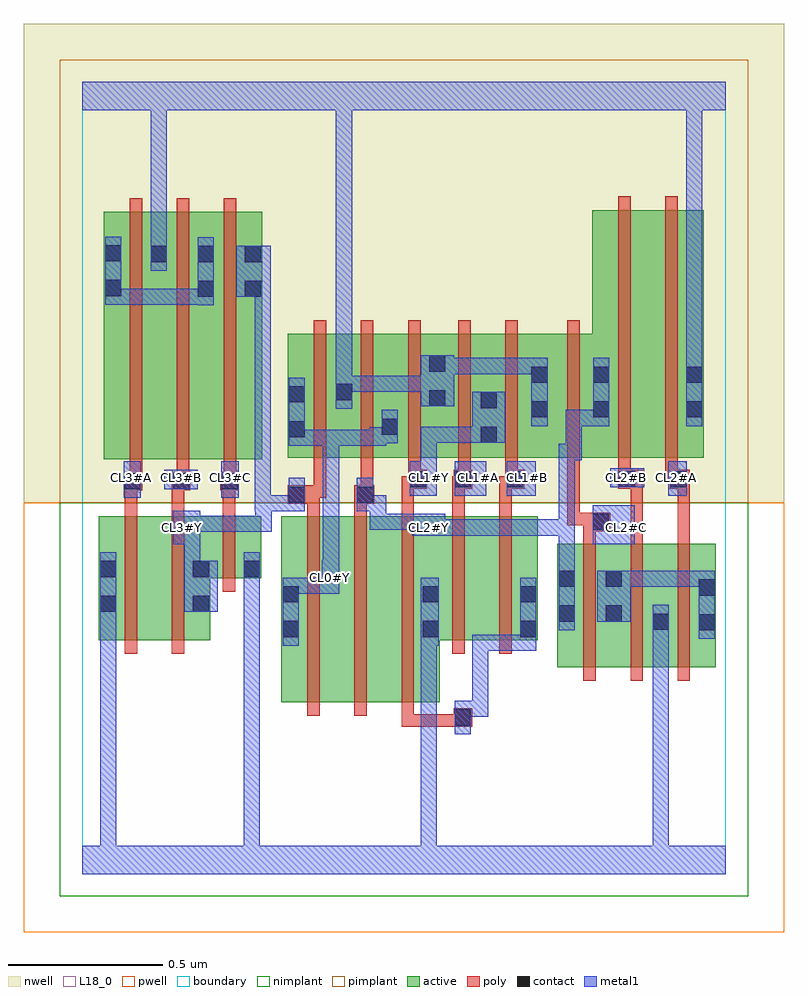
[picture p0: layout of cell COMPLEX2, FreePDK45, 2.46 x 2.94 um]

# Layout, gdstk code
import gdstk
lib = gdstk.Library(unit=1e-6, precision=1e-09)
def R(c, l, rs):  # rectangles x0, y0, x1, y1
    for r in rs: c.add(gdstk.rectangle(r[:2], r[2:], *l))
def A(c, l, x, y, w, h, nx, ny, dx, dy):  # array of equal rectangles
    R(c, l, [(x+i*dx, y+j*dy, x+i*dx+w, y+j*dy+h) for i in range(nx) for j in range(ny)])
active = (1, 0)
pwell = (2, 0)
nwell = (3, 0)
nimplant = (4, 0)
pimplant = (5, 0)
poly = (9, 0)
contact = (10, 0)
metal1 = (11, 0)
L18_0 = (18, 0)
boundary = (235, 0)

complex2 = lib.new_cell('COMPLEX2')
R(complex2, active, [(0.644,0.556,0.824,1.156), (0.644,0.556,0.704,1.156), (0.824,0.556,0.976,1.156), (0.976,0.556,1.156,1.156), (1.096,0.556,1.156,0.934), (1.536,0.668,1.596,1.068), (1.536,0.668,1.748,1.068), (1.688,0.668,1.748,1.068), (1.688,0.668,1.9,1.068), (1.84,0.668,2.048,1.068), (1.84,0.668,1.9,0.874), (1.988,0.668,2.048,1.068), (0.054,0.756,0.114,1.156), (0.054,0.756,0.234,1.156), (0.234,0.756,0.414,1.156), (0.354,0.756,0.414,1.016), (1.096,0.756,1.292,1.156), (1.292,0.756,1.472,1.156), (1.412,0.756,1.472,1.156), (0.354,0.956,0.578,1.156), (0.518,0.956,0.578,1.156), (0.07,1.34,0.13,2.14), (0.07,1.34,0.278,2.14), (0.218,1.34,0.43,2.14), (0.37,1.34,0.582,2.14), (0.37,1.34,0.43,2.044), (0.522,1.34,0.582,2.14), (0.664,1.346,0.876,1.746), (0.664,1.346,0.724,1.644), (0.816,1.346,1.024,1.746), (0.816,1.346,0.876,1.644), (0.964,1.346,1.178,1.746), (1.118,1.346,1.344,1.746), (1.284,1.346,1.508,1.746), (1.448,1.346,1.708,1.746), (1.648,1.346,1.828,2.146), (1.828,1.346,2.008,2.146), (1.948,1.346,2.008,2.044), (1.118,1.39,1.178,1.746), (1.284,1.39,1.344,1.746), (0.964,1.416,1.024,1.644), (1.448,1.472,1.508,1.65), (1.648,1.472,1.708,1.644), (0.218,1.686,0.278,2.14)])
R(complex2, pwell, [(-0.188,-0.188,2.268,1.2)])
R(complex2, nwell, [(-0.188,1.2,2.268,2.748)])
R(complex2, nimplant, [(-0.072,-0.072,2.152,1.2)])
R(complex2, pimplant, [(-0.072,1.2,2.152,2.632)])
A(complex2, poly, 0.728, 0.512, 0.04, 0.688, 3, 1, 0.152, 0)
A(complex2, poly, 1.62, 0.624, 0.04, 0.488, 3, 1, 0.152, 0)
A(complex2, poly, 0.134, 1.24, 0.06, 0.06, 3, 1, 0.156, 0)
A(complex2, poly, 0.154, 1.26, 0.04, 0.076, 3, 1, 0.152, 0)
A(complex2, poly, 0.154, 1.296, 0.04, 0.888, 3, 1, 0.152, 0)
R(complex2, poly, [(1.032,0.476,1.072,0.552), (1.032,0.476,1.072,0.516), (1.032,0.476,1.072,0.516), (1.032,0.476,1.072,0.516), (1.032,0.476,1.24,0.516), (1.2,0.476,1.26,0.536), (0.138,0.712,0.178,1.2), (0.29,0.712,0.33,1.2), (1.196,0.712,1.236,1.2), (1.348,0.712,1.388,1.2), (0.454,0.912,0.494,1.2), (1.62,1.072,1.66,1.148), (1.772,1.072,1.812,1.286), (1.924,1.072,1.964,1.286), (1.62,1.108,1.706,1.168), (1.568,1.128,1.608,1.342), (1.568,1.128,1.66,1.168), (1.62,1.128,1.66,1.168), (0.138,1.16,0.178,1.28), (0.29,1.16,0.33,1.28), (0.454,1.16,0.494,1.28), (0.728,1.16,0.768,1.236), (0.88,1.16,0.92,1.236), (1.032,1.16,1.072,1.286), (1.196,1.16,1.236,1.286), (1.348,1.16,1.388,1.286), (0.664,1.196,0.768,1.256), (0.88,1.196,0.944,1.256), (0.728,1.216,0.768,1.256), (0.728,1.216,0.788,1.256), (0.748,1.216,0.788,1.342), (0.9,1.216,0.94,1.256), (0.9,1.216,0.94,1.256), (0.9,1.216,0.94,1.342), (0.138,1.24,0.178,1.28), (0.138,1.24,0.178,1.28), (0.29,1.24,0.33,1.28), (0.29,1.24,0.33,1.28), (0.454,1.24,0.494,1.28), (0.454,1.24,0.494,1.28), (1.032,1.246,1.094,1.286), (1.054,1.246,1.094,1.286), (1.054,1.246,1.114,1.306), (1.196,1.246,1.24,1.286), (1.2,1.246,1.24,1.286), (1.2,1.246,1.26,1.306), (1.348,1.246,1.408,1.286), (1.368,1.246,1.408,1.286), (1.368,1.246,1.428,1.306), (1.732,1.246,1.812,1.306), (1.772,1.246,1.812,1.286), (1.772,1.246,1.812,1.286), (1.898,1.246,1.964,1.306), (1.054,1.266,1.094,1.342), (1.216,1.266,1.256,1.342), (1.368,1.266,1.408,1.342), (1.732,1.266,1.772,1.342), (1.884,1.266,1.924,1.342), (1.884,1.266,1.938,1.306), (1.898,1.266,1.938,1.306), (0.748,1.302,0.788,1.79), (0.9,1.302,0.94,1.79), (1.054,1.302,1.094,1.79), (1.216,1.302,1.256,1.79), (1.368,1.302,1.408,1.79), (1.568,1.302,1.608,1.79), (1.732,1.302,1.772,2.19), (1.884,1.302,1.924,2.19)])
A(complex2, contact, 0.138, 1.244, 0.052, 0.052, 3, 1, 0.156, 0)
A(complex2, contact, 0.222, 1.978, 0.052, 0.052, 3, 1, 0.152, 0)
R(complex2, contact, [(1.204,0.48,1.256,0.532), (0.648,0.766,0.7,0.818), (1.1,0.766,1.152,0.818), (1.416,0.766,1.468,0.818), (1.992,0.788,2.044,0.84), (1.844,0.79,1.896,0.842), (1.54,0.816,1.592,0.868), (1.692,0.816,1.744,0.868), (0.058,0.848,0.11,0.9), (0.358,0.848,0.41,0.9), (0.648,0.878,0.7,0.93), (1.1,0.878,1.152,0.93), (1.416,0.878,1.468,0.93), (1.992,0.9,2.044,0.952), (1.54,0.928,1.592,0.98), (1.692,0.928,1.744,0.98), (0.058,0.96,0.11,1.012), (0.358,0.96,0.41,1.012), (0.522,0.96,0.574,1.012), (1.65,1.112,1.702,1.164), (0.668,1.2,0.72,1.252), (0.888,1.2,0.94,1.252), (1.058,1.25,1.11,1.302), (1.204,1.25,1.256,1.302), (1.372,1.25,1.424,1.302), (1.736,1.25,1.788,1.302), (1.902,1.25,1.954,1.302), (1.288,1.394,1.34,1.446), (0.668,1.412,0.72,1.464), (0.968,1.42,1.02,1.472), (1.452,1.476,1.504,1.528), (1.652,1.476,1.704,1.528), (1.952,1.476,2.004,1.528), (1.288,1.506,1.34,1.558), (1.122,1.512,1.174,1.564), (0.668,1.524,0.72,1.576), (0.82,1.532,0.872,1.584), (1.452,1.588,1.504,1.64), (1.652,1.588,1.704,1.64), (1.952,1.588,2.004,1.64), (1.122,1.624,1.174,1.676), (0.374,1.866,0.426,1.918), (0.526,1.866,0.578,1.918), (0.074,1.868,0.126,1.92), (0.074,1.98,0.126,2.032)])
R(complex2, metal1, [(0,0,2.08,0.092), (0.058,0.04,0.11,0.092), (0.058,0.04,0.11,0.092), (0.058,0.04,0.11,0.092), (0.058,0.04,0.11,0.092), (0.058,0.04,0.11,0.092), (0.058,0.04,0.11,0.092), (0.058,0.04,0.11,0.092), (0.058,0.04,0.11,0.092), (0.058,0.04,0.11,0.092), (0.058,0.04,0.11,0.092), (0.058,0.04,0.11,0.092), (0.058,0.04,0.11,0.092), (0.058,0.04,0.11,0.872), (0.522,0.04,0.574,0.092), (0.522,0.04,0.574,0.092), (0.522,0.04,0.574,0.092), (0.522,0.04,0.574,0.092), (0.522,0.04,0.574,0.092), (0.522,0.04,0.574,0.092), (0.522,0.04,0.574,0.092), (0.522,0.04,0.574,0.092), (0.522,0.04,0.574,0.092), (0.522,0.04,0.574,0.092), (0.522,0.04,0.574,0.092), (0.522,0.04,0.574,0.092), (0.522,0.04,0.574,0.092), (0.522,0.04,0.574,0.092), (0.522,0.04,0.574,0.984), (1.094,0.04,1.146,0.092), (1.094,0.04,1.146,0.092), (1.094,0.04,1.146,0.092), (1.094,0.04,1.146,0.092), (1.094,0.04,1.146,0.092), (1.094,0.04,1.146,0.092), (1.094,0.04,1.146,0.092), (1.094,0.04,1.146,0.092), (1.094,0.04,1.146,0.79), (1.844,0.04,1.896,0.092), (1.844,0.04,1.896,0.092), (1.844,0.04,1.896,0.092), (1.844,0.04,1.896,0.092), (1.844,0.04,1.896,0.092), (1.844,0.04,1.896,0.092), (1.844,0.04,1.896,0.092), (1.844,0.04,1.896,0.092), (1.844,0.04,1.896,0.092), (1.844,0.04,1.896,0.092), (1.844,0.04,1.896,0.814), (1.204,0.452,1.256,0.56), (1.204,0.508,1.312,0.56), (1.26,0.508,1.312,0.56), (1.26,0.508,1.312,0.56), (1.26,0.508,1.312,0.56), (1.26,0.508,1.312,0.774), (1.26,0.722,1.312,0.774), (1.26,0.722,1.468,0.774), (1.416,0.722,1.468,0.774), (1.416,0.722,1.468,0.774), (1.416,0.722,1.468,0.774), (1.416,0.722,1.468,0.79), (0.648,0.738,0.7,0.958), (1.094,0.738,1.152,0.958), (1.416,0.738,1.468,0.958), (1.992,0.76,2.044,0.98), (1.844,0.762,1.896,0.814), (1.844,0.762,1.896,0.814), (1.844,0.762,1.896,0.87), (1.54,0.788,1.592,1.008), (1.664,0.816,1.772,0.98), (0.058,0.82,0.11,1.04), (0.33,0.848,0.438,1.012), (0.648,0.906,0.83,0.958), (0.774,0.906,0.83,1.014), (0.778,0.906,0.83,0.958), (0.778,0.906,0.83,0.958), (0.778,0.906,0.83,0.958), (0.778,0.906,0.83,0.958), (1.72,0.928,1.772,0.98), (1.72,0.928,1.772,0.98), (1.72,0.928,1.894,0.98), (1.842,0.928,1.894,0.98), (1.842,0.928,1.894,0.98), (1.842,0.928,1.894,0.98), (1.842,0.928,2.044,0.98), (0.522,0.932,0.574,0.984), (0.522,0.932,0.574,0.984), (0.522,0.932,0.574,1.04), (1.54,0.956,1.592,1.146), (0.33,0.96,0.382,1.118), (0.778,0.962,0.83,1.436), (0.294,1.066,0.382,1.174), (1.65,1.066,1.786,1.192), (1.066,1.094,1.174,1.164), (1.122,1.094,1.314,1.146), (1.262,1.094,1.314,1.146), (1.262,1.094,1.314,1.146), (1.262,1.094,1.314,1.146), (1.262,1.094,1.482,1.146), (1.43,1.094,1.482,1.146), (1.43,1.094,1.482,1.146), (1.43,1.094,1.482,1.146), (1.43,1.094,1.592,1.146), (1.54,1.094,1.592,1.146), (1.54,1.094,1.592,1.146), (1.54,1.094,1.592,1.146), (1.54,1.094,1.592,1.39), (0.33,1.106,0.418,1.158), (0.366,1.106,0.418,1.158), (0.366,1.106,0.612,1.158), (0.56,1.106,0.612,1.224), (0.93,1.112,1.118,1.164), (0.93,1.112,0.982,1.224), (1.066,1.112,1.118,1.164), (1.066,1.112,1.118,1.164), (0.558,1.172,0.61,1.918), (0.558,1.172,0.612,1.224), (0.56,1.172,0.612,1.224), (0.56,1.172,0.716,1.224), (0.664,1.172,0.716,1.224), (0.664,1.172,0.72,1.224), (0.668,1.172,0.72,1.28), (0.888,1.172,0.94,1.28), (0.888,1.172,0.982,1.224), (0.134,1.216,0.19,1.334), (0.45,1.216,0.506,1.334), (1.058,1.222,1.146,1.334), (1.204,1.222,1.306,1.334), (1.372,1.222,1.466,1.334), (1.894,1.222,1.954,1.334), (0.266,1.244,0.374,1.306), (1.706,1.25,1.816,1.312), (1.094,1.282,1.146,1.334), (1.094,1.282,1.146,1.334), (1.094,1.282,1.146,1.446), (1.54,1.338,1.592,1.39), (1.54,1.338,1.614,1.39), (1.562,1.338,1.614,1.5), (0.668,1.384,0.72,1.604), (0.668,1.384,0.83,1.436), (0.778,1.384,0.83,1.436), (0.778,1.384,0.83,1.436), (0.778,1.384,0.83,1.436), (0.778,1.384,0.83,1.436), (0.778,1.384,0.83,1.436), (0.778,1.384,0.982,1.436), (0.93,1.384,0.982,1.444), (0.93,1.392,1.02,1.444), (0.968,1.392,1.02,1.5), (1.094,1.394,1.146,1.446), (1.094,1.394,1.312,1.446), (1.26,1.394,1.312,1.446), (1.26,1.394,1.312,1.446), (1.26,1.394,1.368,1.558), (1.452,1.448,1.504,1.668), (1.562,1.448,1.704,1.5), (1.652,1.448,1.704,1.668), (1.952,1.448,2.004,1.668), (0.82,1.504,0.872,1.612), (1.094,1.512,1.202,1.676), (0.82,1.558,0.982,1.61), (0.93,1.558,0.982,1.61), (0.93,1.558,0.982,1.61), (0.93,1.558,0.982,1.61), (0.93,1.558,1.146,1.61), (1.094,1.558,1.146,1.61), (1.094,1.558,1.146,1.61), (0.82,1.56,0.872,2.41), (1.15,1.616,1.312,1.668), (1.26,1.616,1.312,1.668), (1.26,1.616,1.312,1.668), (1.26,1.616,1.312,1.668), (1.26,1.616,1.482,1.668), (1.43,1.616,1.482,1.668), (1.43,1.616,1.504,1.668), (1.952,1.616,2.004,2.52), (0.374,1.838,0.426,2.058), (0.074,1.84,0.126,1.892), (0.074,1.84,0.126,1.892), (0.074,1.84,0.126,2.06), (0.074,1.84,0.236,1.892), (0.184,1.84,0.236,1.892), (0.184,1.84,0.236,1.892), (0.184,1.84,0.236,1.892), (0.184,1.84,0.426,1.892), (0.498,1.866,0.61,2.03), (0.222,1.95,0.274,2.058), (0.222,2.006,0.274,2.52), (0.82,2.358,0.872,2.41), (0.82,2.358,0.872,2.41), (0.82,2.358,0.872,2.41), (0.82,2.358,0.872,2.41), (0.82,2.358,0.872,2.41), (0.82,2.358,0.872,2.41), (0.82,2.358,0.872,2.41), (0.82,2.358,0.872,2.41), (0.82,2.358,0.872,2.41), (0.82,2.358,0.872,2.41), (0.82,2.358,0.872,2.41), (0.82,2.358,0.872,2.52), (0,2.468,2.08,2.56), (0.222,2.468,0.274,2.52), (0.222,2.468,0.274,2.52), (0.222,2.468,0.274,2.52), (0.222,2.468,0.274,2.52), (0.222,2.468,0.274,2.52), (0.222,2.468,0.274,2.52), (0.222,2.468,0.274,2.52), (0.222,2.468,0.274,2.52), (0.82,2.468,0.872,2.52), (0.82,2.468,0.872,2.52), (0.82,2.468,0.872,2.52), (0.82,2.468,0.872,2.52), (1.952,2.468,2.004,2.52), (1.952,2.468,2.004,2.52), (1.952,2.468,2.004,2.52), (1.952,2.468,2.004,2.52), (1.952,2.468,2.004,2.52), (1.952,2.468,2.004,2.52), (1.952,2.468,2.004,2.52), (1.952,2.468,2.004,2.52)])
A(complex2, L18_0, 0.134, 1.254, 0.052, 0.052, 3, 1, 0.16, 0)
A(complex2, L18_0, 1.094, 1.254, 0.052, 0.052, 3, 1, 0.16, 0)
R(complex2, L18_0, [(0,0,2.08,0.092), (0.058,0.04,0.11,0.092), (0.058,0.04,0.11,0.092), (0.058,0.04,0.11,0.092), (0.058,0.04,0.11,0.092), (0.058,0.04,0.11,0.092), (0.058,0.04,0.11,0.092), (0.058,0.04,0.11,0.092), (0.058,0.04,0.11,0.092), (0.058,0.04,0.11,0.092), (0.058,0.04,0.11,0.092), (0.058,0.04,0.11,0.092), (0.058,0.04,0.11,0.092), (0.058,0.04,0.11,0.872), (0.522,0.04,0.574,0.092), (0.522,0.04,0.574,0.092), (0.522,0.04,0.574,0.092), (0.522,0.04,0.574,0.092), (0.522,0.04,0.574,0.092), (0.522,0.04,0.574,0.092), (0.522,0.04,0.574,0.092), (0.522,0.04,0.574,0.092), (0.522,0.04,0.574,0.092), (0.522,0.04,0.574,0.092), (0.522,0.04,0.574,0.092), (0.522,0.04,0.574,0.092), (0.522,0.04,0.574,0.092), (0.522,0.04,0.574,0.092), (0.522,0.04,0.574,0.984), (1.094,0.04,1.146,0.092), (1.094,0.04,1.146,0.092), (1.094,0.04,1.146,0.092), (1.094,0.04,1.146,0.092), (1.094,0.04,1.146,0.092), (1.094,0.04,1.146,0.092), (1.094,0.04,1.146,0.092), (1.094,0.04,1.146,0.092), (1.094,0.04,1.146,0.79), (1.844,0.04,1.896,0.092), (1.844,0.04,1.896,0.092), (1.844,0.04,1.896,0.092), (1.844,0.04,1.896,0.092), (1.844,0.04,1.896,0.092), (1.844,0.04,1.896,0.092), (1.844,0.04,1.896,0.092), (1.844,0.04,1.896,0.092), (1.844,0.04,1.896,0.092), (1.844,0.04,1.896,0.092), (1.844,0.04,1.896,0.814), (1.204,0.452,1.256,0.56), (1.204,0.508,1.312,0.56), (1.26,0.508,1.312,0.56), (1.26,0.508,1.312,0.56), (1.26,0.508,1.312,0.56), (1.26,0.508,1.312,0.774), (1.26,0.722,1.312,0.774), (1.26,0.722,1.468,0.774), (1.416,0.722,1.468,0.774), (1.416,0.722,1.468,0.774), (1.416,0.722,1.468,0.774), (1.416,0.722,1.468,0.79), (0.648,0.738,0.7,0.958), (1.094,0.738,1.152,0.958), (1.416,0.738,1.468,0.958), (1.844,0.762,1.896,0.814), (1.844,0.762,1.896,0.814), (1.844,0.762,1.896,0.87), (1.54,0.788,1.592,1.008), (0.058,0.82,0.11,1.04), (0.33,0.848,0.438,1.012), (0.648,0.906,0.83,0.958), (0.774,0.906,0.83,1.014), (0.778,0.906,0.83,0.958), (0.778,0.906,0.83,0.958), (0.778,0.906,0.83,0.958), (0.778,0.906,0.83,0.958), (0.522,0.932,0.574,0.984), (0.522,0.932,0.574,0.984), (0.522,0.932,0.574,1.04), (0.774,0.934,0.826,0.986), (1.54,0.956,1.592,1.146), (0.33,0.96,0.382,1.118), (0.778,0.962,0.83,1.436), (0.294,1.066,0.382,1.174), (1.65,1.066,1.786,1.192), (0.294,1.094,0.346,1.146), (1.066,1.094,1.174,1.164), (1.094,1.094,1.146,1.146), (1.122,1.094,1.314,1.146), (1.262,1.094,1.314,1.146), (1.262,1.094,1.314,1.146), (1.262,1.094,1.314,1.146), (1.262,1.094,1.482,1.146), (1.43,1.094,1.482,1.146), (1.43,1.094,1.482,1.146), (1.43,1.094,1.482,1.146), (1.43,1.094,1.592,1.146), (1.54,1.094,1.592,1.146), (1.54,1.094,1.592,1.146), (1.54,1.094,1.592,1.146), (1.54,1.094,1.592,1.39), (1.734,1.094,1.786,1.146), (0.33,1.106,0.418,1.158), (0.366,1.106,0.418,1.158), (0.366,1.106,0.612,1.158), (0.56,1.106,0.612,1.224), (0.93,1.112,0.982,1.224), (0.93,1.112,1.118,1.164), (1.066,1.112,1.118,1.164), (1.066,1.112,1.118,1.164), (0.558,1.172,0.612,1.224), (0.558,1.172,0.61,1.918), (0.56,1.172,0.612,1.224), (0.56,1.172,0.716,1.224), (0.664,1.172,0.716,1.224), (0.664,1.172,0.72,1.224), (0.668,1.172,0.72,1.28), (0.888,1.172,0.94,1.28), (0.888,1.172,0.982,1.224), (0.134,1.216,0.19,1.334), (0.45,1.216,0.506,1.334), (1.058,1.222,1.146,1.334), (1.204,1.222,1.306,1.334), (1.372,1.222,1.466,1.334), (1.894,1.222,1.954,1.334), (0.266,1.244,0.374,1.306), (1.706,1.25,1.816,1.312), (1.734,1.254,1.786,1.306), (1.894,1.254,1.946,1.306), (1.094,1.282,1.146,1.334), (1.094,1.282,1.146,1.334), (1.094,1.282,1.146,1.446), (1.54,1.338,1.592,1.39), (1.54,1.338,1.614,1.39), (1.562,1.338,1.614,1.5), (0.668,1.384,0.72,1.604), (0.668,1.384,0.83,1.436), (0.778,1.384,0.83,1.436), (0.778,1.384,0.83,1.436), (0.778,1.384,0.83,1.436), (0.778,1.384,0.83,1.436), (0.778,1.384,0.83,1.436), (0.778,1.384,0.982,1.436), (0.93,1.384,0.982,1.444), (0.93,1.392,1.02,1.444), (0.968,1.392,1.02,1.5), (1.094,1.394,1.146,1.446), (1.094,1.394,1.312,1.446), (1.26,1.394,1.312,1.446), (1.26,1.394,1.312,1.446), (1.26,1.394,1.368,1.558), (1.452,1.448,1.504,1.668), (1.562,1.448,1.704,1.5), (1.652,1.448,1.704,1.668), (1.952,1.448,2.004,1.668), (0.82,1.504,0.872,1.612), (1.094,1.512,1.202,1.676), (0.82,1.558,0.982,1.61), (0.93,1.558,0.982,1.61), (0.93,1.558,0.982,1.61), (0.93,1.558,0.982,1.61), (0.93,1.558,1.146,1.61), (1.094,1.558,1.146,1.61), (1.094,1.558,1.146,1.61), (0.82,1.56,0.872,2.41), (1.15,1.616,1.312,1.668), (1.26,1.616,1.312,1.668), (1.26,1.616,1.312,1.668), (1.26,1.616,1.312,1.668), (1.26,1.616,1.482,1.668), (1.43,1.616,1.482,1.668), (1.43,1.616,1.504,1.668), (1.952,1.616,2.004,2.52), (0.498,1.866,0.61,2.03), (0.222,1.95,0.274,2.058), (0.222,2.006,0.274,2.52), (0.82,2.358,0.872,2.41), (0.82,2.358,0.872,2.41), (0.82,2.358,0.872,2.41), (0.82,2.358,0.872,2.41), (0.82,2.358,0.872,2.41), (0.82,2.358,0.872,2.41), (0.82,2.358,0.872,2.41), (0.82,2.358,0.872,2.41), (0.82,2.358,0.872,2.41), (0.82,2.358,0.872,2.41), (0.82,2.358,0.872,2.41), (0.82,2.358,0.872,2.52), (0,2.468,2.08,2.56), (0.222,2.468,0.274,2.52), (0.222,2.468,0.274,2.52), (0.222,2.468,0.274,2.52), (0.222,2.468,0.274,2.52), (0.222,2.468,0.274,2.52), (0.222,2.468,0.274,2.52), (0.222,2.468,0.274,2.52), (0.222,2.468,0.274,2.52), (0.82,2.468,0.872,2.52), (0.82,2.468,0.872,2.52), (0.82,2.468,0.872,2.52), (0.82,2.468,0.872,2.52), (1.952,2.468,2.004,2.52), (1.952,2.468,2.004,2.52), (1.952,2.468,2.004,2.52), (1.952,2.468,2.004,2.52), (1.952,2.468,2.004,2.52), (1.952,2.468,2.004,2.52), (1.952,2.468,2.004,2.52), (1.952,2.468,2.004,2.52)])
R(complex2, boundary, [(0,0,2.08,2.56)])
complex2.add(gdstk.Label('CL0#Y', (0.8,0.96), layer=11, texttype=0))
complex2.add(gdstk.Label('CL1#A', (1.28,1.28), layer=11, texttype=0))
complex2.add(gdstk.Label('CL1#B', (1.44,1.28), layer=11, texttype=0))
complex2.add(gdstk.Label('CL1#Y', (1.12,1.28), layer=11, texttype=0))
complex2.add(gdstk.Label('CL2#A', (1.92,1.28), layer=11, texttype=0))
complex2.add(gdstk.Label('CL2#B', (1.76,1.28), layer=11, texttype=0))
complex2.add(gdstk.Label('CL2#C', (1.76,1.12), layer=11, texttype=0))
complex2.add(gdstk.Label('CL2#Y', (1.12,1.12), layer=11, texttype=0))
complex2.add(gdstk.Label('CL3#A', (0.16,1.28), layer=11, texttype=0))
complex2.add(gdstk.Label('CL3#B', (0.32,1.28), layer=11, texttype=0))
complex2.add(gdstk.Label('CL3#C', (0.48,1.28), layer=11, texttype=0))
complex2.add(gdstk.Label('CL3#Y', (0.32,1.12), layer=11, texttype=0))

lib.write_gds('COMPLEX2.gds')
